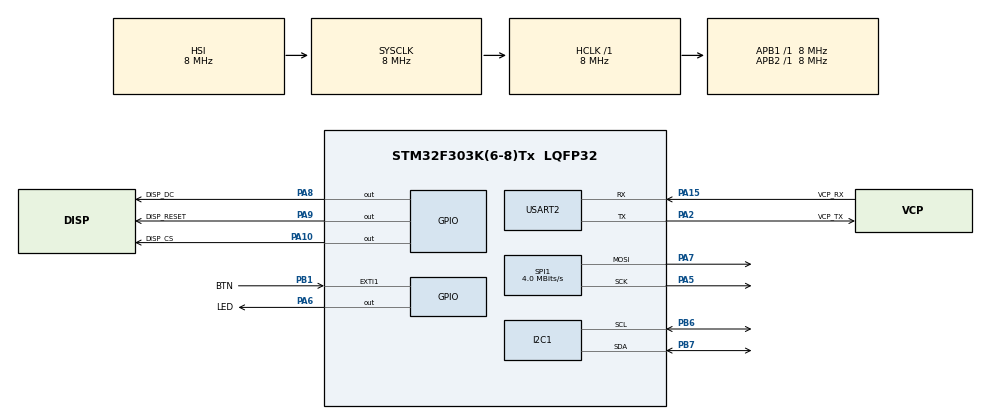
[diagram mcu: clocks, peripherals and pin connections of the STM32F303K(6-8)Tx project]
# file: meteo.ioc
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Dma.I2C1_RX.1.Direction=DMA_PERIPH_TO_MEMORY
Dma.I2C1_RX.1.Instance=DMA1_Channel5
Dma.I2C1_RX.1.MemDataAlignment=DMA_MDATAALIGN_BYTE
Dma.I2C1_RX.1.MemInc=DMA_MINC_ENABLE
Dma.I2C1_RX.1.Mode=DMA_NORMAL
Dma.I2C1_RX.1.PeriphDataAlignment=DMA_PDATAALIGN_BYTE
Dma.I2C1_RX.1.PeriphInc=DMA_PINC_DISABLE
Dma.I2C1_RX.1.Priority=DMA_PRIORITY_LOW
Dma.I2C1_TX.2.Direction=DMA_MEMORY_TO_PERIPH
Dma.I2C1_TX.2.Instance=DMA1_Channel2
Dma.I2C1_TX.2.MemDataAlignment=DMA_MDATAALIGN_BYTE
Dma.I2C1_TX.2.MemInc=DMA_MINC_ENABLE
Dma.I2C1_TX.2.Mode=DMA_NORMAL
Dma.I2C1_TX.2.PeriphDataAlignment=DMA_PDATAALIGN_BYTE
Dma.I2C1_TX.2.PeriphInc=DMA_PINC_DISABLE
Dma.I2C1_TX.2.Priority=DMA_PRIORITY_LOW
Dma.Request0=SPI1_TX
Dma.Request1=I2C1_RX
Dma.Request2=I2C1_TX
Dma.SPI1_TX.0.Direction=DMA_MEMORY_TO_PERIPH
Dma.SPI1_TX.0.Instance=DMA1_Channel3
Dma.SPI1_TX.0.MemDataAlignment=DMA_MDATAALIGN_BYTE
Dma.SPI1_TX.0.MemInc=DMA_MINC_ENABLE
Dma.SPI1_TX.0.Mode=DMA_NORMAL
Dma.SPI1_TX.0.PeriphDataAlignment=DMA_PDATAALIGN_BYTE
Dma.SPI1_TX.0.PeriphInc=DMA_PINC_DISABLE
Dma.SPI1_TX.0.Priority=DMA_PRIORITY_LOW
I2C1.Timing=0x00201D2B
Mcu.Family=STM32F3
Mcu.Name=STM32F303K(6-8)Tx
Mcu.Package=LQFP32
NVIC.DMA1_Channel2_IRQn=true\:0\:0\:false\:false\:true\:false\:true\:true
NVIC.DMA1_Channel3_IRQn=true\:0\:0\:false\:false\:true\:false\:true\:true
NVIC.DMA1_Channel5_IRQn=true\:0\:0\:false\:false\:true\:false\:true\:true
NVIC.EXTI1_IRQn=true\:0\:0\:false\:false\:true\:true\:true\:true
NVIC.PriorityGroup=NVIC_PRIORITYGROUP_4
NVIC.TIM1_UP_TIM16_IRQn=true\:0\:0\:false\:false\:true\:true\:true\:true
NVIC.TIM6_DAC1_IRQn=true\:0\:0\:false\:false\:true\:true\:true\:true
NVIC.TIM7_DAC2_IRQn=true\:0\:0\:false\:false\:true\:true\:true\:true
PA10.GPIO_Label=DISP_CS
PA10.Signal=GPIO_Output
PA13.GPIO_Label=SWDIO
PA13.Mode=Serial_Wire
PA13.Signal=SYS_JTMS-SWDIO
PA14.GPIO_Label=SWCLK
PA14.Mode=Serial_Wire
PA14.Signal=SYS_JTCK-SWCLK
PA15.GPIO_Label=VCP_RX
PA15.Mode=Asynchronous
PA15.Signal=USART2_RX
PA2.GPIO_Label=VCP_TX
PA2.Mode=Asynchronous
PA2.Signal=USART2_TX
PA5.Mode=TX_Only_Simplex_Unidirect_Master
PA5.Signal=SPI1_SCK
PA6.GPIO_Label=LED
PA6.PinState=GPIO_PIN_SET
PA6.Signal=GPIO_Output
PA7.Mode=TX_Only_Simplex_Unidirect_Master
PA7.Signal=SPI1_MOSI
PA8.GPIO_Label=DISP_DC
PA8.Signal=GPIO_Output
PA9.GPIO_Label=DISP_RESET
PA9.Signal=GPIO_Output
PB1.GPIO_Label=BTN
PB1.GPIO_ModeDefaultEXTI=GPIO_MODE_IT_FALLING
PB1.GPIO_PuPd=GPIO_PULLUP
PB1.Signal=GPXTI1
PB6.Mode=I2C
PB6.Signal=I2C1_SCL
PB7.Mode=I2C
PB7.Signal=I2C1_SDA
PF0\ /\ OSC_IN.GPIO_Label=MCO
PF0\ /\ OSC_IN.Mode=HSE-External-Clock-Source
PF0\ /\ OSC_IN.Signal=RCC_OSC_IN
ProjectManager.HeapSize=0x200
ProjectManager.StackSize=0x400
ProjectManager.TargetToolchain=STM32CubeIDE
RCC.AHBFreq_Value=8000000
RCC.APB1Freq_Value=8000000
RCC.APB2Freq_Value=8000000
RCC.CortexFreq_Value=8000000
RCC.HSE_VALUE=8000000
RCC.HSI_VALUE=8000000
RCC.SYSCLKFreq_VALUE=8000000
SPI1.CalculateBaudRate=4.0 MBits/s
SPI1.DataSize=SPI_DATASIZE_8BIT
SPI1.Direction=SPI_DIRECTION_2LINES
SPI1.Mode=SPI_MODE_MASTER
SPI1.VirtualType=VM_MASTER
TIM16.Period=7999
TIM16.Prescaler=999
TIM6.Period=5000
TIM6.Prescaler=800-1
TIM7.Period=100
TIM7.Prescaler=800-1
USART2.VirtualMode-Asynchronous=VM_ASYNC
VP_TIM16_VS_ClockSourceINT.Mode=Enable_Timer
VP_TIM6_VS_ClockSourceINT.Mode=Enable_Timer
VP_TIM7_VS_ClockSourceINT.Mode=Enable_Timer
board=NUCLEO-F303K8

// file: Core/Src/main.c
/* USER CODE BEGIN Header */
/**
  ******************************************************************************
  * @file           : main.c
  * @brief          : Main program body
  ******************************************************************************
  * @attention
  *
  * Copyright (c) 2025 STMicroelectronics.
  * All rights reserved.
  *
  * This software is licensed under terms that can be found in the LICENSE file
  * in the root directory of this software component.
  * If no LICENSE file comes with this software, it is provided AS-IS.
  *
  ******************************************************************************
  */
/* USER CODE END Header */
#include "main.h"
#include "dma.h"
#include "i2c.h"
#include "spi.h"
#include "tim.h"
#include "usart.h"
#include "gpio.h"

/* USER CODE BEGIN Includes */
#include "text_function.h"
#include "stm32f3xx_hal.h"
#include "ILI9341_STM32_Driver.h"
#include "ILI9341_GFX.h"
/* USER CODE END Includes */

/* USER CODE BEGIN PV */
int16_t temperature = 853;
int16_t pressure = 111;
int8_t screen_index = 0;
int8_t screen_status = 0;
int8_t screen_tick = 0;
int32_t butonCounter = 0;
int8_t mode = 0;
char string_buf[7];

uint8_t date_buff[6];
uint8_t date_changemask = 0;
/* USER CODE END PV */

void SystemClock_Config(void);
/* USER CODE BEGIN PFP */
int USART_ReadTime();
/* USER CODE END PFP */

int main(void)
{

  /* MCU Configuration--------------------------------------------------------*/

  /* Reset of all peripherals, Initializes the Flash interface and the Systick. */
  HAL_Init();

  /* Configure the system clock */
  SystemClock_Config();

  /* Initialize all configured peripherals */
  MX_GPIO_Init();
  MX_DMA_Init();
  MX_USART2_UART_Init();
  MX_SPI1_Init();
  MX_I2C1_Init();
  MX_TIM7_Init();
  MX_TIM6_Init();
  MX_TIM16_Init();
  /* USER CODE BEGIN 2 */
  HAL_Delay(10);
  ILI9341_Init();
  HAL_Delay(50);

  ILI9341_FillScreen(BLACK); //fill whole screen with black color

  HAL_TIM_Base_Start_IT(&htim6);

  // ziskame hodnotu casu

  USART_ReadTime(date_buff);

  HAL_TIM_Base_Start_IT(&htim16);

  //test printout
  /*ILI9341_DrawRectangle(0, 0, 320, 30, BLUE);
  ILI9341_DrawText("WEATHER STATION", FONT4, 60, 8, WHITE, BLUE);

    ILI9341_DrawHollowRectangleCoord(10, 40, 310, 75, WHITE);
  	ILI9341_DrawText("Temperature:        *C", FONT4, 50, 50, WHITE, BLACK);
  	digit_to_ascii_XX_X(temperature, string_buf);
  	ILI9341_DrawText(string_buf, FONT4, 190, 50, WHITE, BLACK);

  	ILI9341_DrawHollowRectangleCoord(10, 85, 310, 120, WHITE);
  	ILI9341_DrawText("Pressure:           kPa", FONT4, 50, 95, WHITE, BLACK);
  	digit3_to_ascii(pressure, string_buf);
  	ILI9341_DrawText(string_buf, FONT4, 190, 95, WHITE, BLACK);
*/

  /* USER CODE END 2 */

  /* Infinite loop */
  while (1)
  {

    /* USER CODE BEGIN 3 */
if (mode == 0) {
	  if (screen_status) {
		  if (screen_index >= 3) {
			  screen_index = 0;
		  }
		  if (screen_index == 0) {
			  ILI9341_FillScreen(BLUE);
		  }
		  else if (screen_index == 1) {
			  ILI9341_FillScreen(RED);
		  }
		  else if (screen_index == 2) {
			  ILI9341_FillScreen(WHITE);
		  }
		  screen_status = 0;
		  screen_index++;
	  }
}
if (mode == 1) {
	if (screen_tick) {
		if (screen_index >= 3) {
			screen_index = 0;
		}
		if (screen_index == 0) {
		    ILI9341_FillScreen(BLUE);
		}
		else if (screen_index == 1) {
		    ILI9341_FillScreen(RED);
		}
		else if (screen_index == 2) {
		    ILI9341_FillScreen(WHITE);
		}
		screen_tick = 0;
		screen_index++;
	}
}
	  /*if (screen_status) {
		  pressure++;
		  digit3_to_ascii(pressure, string_buf);
		  ILI9341_DrawText(string_buf, FONT4, 190, 95, WHITE, BLACK);
		  screen_status = 0;
	  }*/

	  /*HAL_GPIO_WritePin(LED_GPIO_Port, LED_Pin, GPIO_PIN_RESET);
	  HAL_Delay(500);
	  HAL_GPIO_WritePin(LED_GPIO_Port, LED_Pin, GPIO_PIN_SET);
	  HAL_Delay(500);*/

  }
  /* USER CODE END 3 */
}

void SystemClock_Config(void)
{
  RCC_OscInitTypeDef RCC_OscInitStruct = {0};
  RCC_ClkInitTypeDef RCC_ClkInitStruct = {0};
  RCC_PeriphCLKInitTypeDef PeriphClkInit = {0};

  /** Initializes the RCC Oscillators according to the specified parameters
  * in the RCC_OscInitTypeDef structure.
  */
  RCC_OscInitStruct.OscillatorType = RCC_OSCILLATORTYPE_HSI;
  RCC_OscInitStruct.HSIState = RCC_HSI_ON;
  RCC_OscInitStruct.HSICalibrationValue = RCC_HSICALIBRATION_DEFAULT;
  RCC_OscInitStruct.PLL.PLLState = RCC_PLL_NONE;
  if (HAL_RCC_OscConfig(&RCC_OscInitStruct) != HAL_OK)
  {
    Error_Handler();
  }

  /** Initializes the CPU, AHB and APB buses clocks
  */
  RCC_ClkInitStruct.ClockType = RCC_CLOCKTYPE_HCLK|RCC_CLOCKTYPE_SYSCLK
                              |RCC_CLOCKTYPE_PCLK1|RCC_CLOCKTYPE_PCLK2;
  RCC_ClkInitStruct.SYSCLKSource = RCC_SYSCLKSOURCE_HSI;
  RCC_ClkInitStruct.AHBCLKDivider = RCC_SYSCLK_DIV1;
  RCC_ClkInitStruct.APB1CLKDivider = RCC_HCLK_DIV1;
  RCC_ClkInitStruct.APB2CLKDivider = RCC_HCLK_DIV1;

  if (HAL_RCC_ClockConfig(&RCC_ClkInitStruct, FLASH_LATENCY_0) != HAL_OK)
  {
    Error_Handler();
  }
  PeriphClkInit.PeriphClockSelection = RCC_PERIPHCLK_I2C1;
  PeriphClkInit.I2c1ClockSelection = RCC_I2C1CLKSOURCE_HSI;
  if (HAL_RCCEx_PeriphCLKConfig(&PeriphClkInit) != HAL_OK)
  {
    Error_Handler();
  }
}

/* USER CODE BEGIN 4 */

int USART_ReadTime(uint8_t* read_buff){
  uint8_t msg[] = "get\0";

  HAL_UART_Transmit(&huart2, msg, sizeof(msg) - 1, HAL_MAX_DELAY);
  uint8_t rx;

  uint8_t i = 0;
  while(i < 6){
    HAL_UART_Receive(&huart2, &rx, 1, HAL_MAX_DELAY);
	read_buff[i] = rx;
	i++;
  }
}

// time increase
void HAL_TIM_PeriodElapsedCallback(TIM_HandleTypeDef *htim){

	if(htim == &htim16){
		HAL_GPIO_TogglePin(LED_GPIO_Port, LED_Pin);

		date_buff[2]++;
		date_changemask |= 0x8;
		if(date_buff[2] > 59){
			date_buff[2] = 0;
			date_buff[1]++;
			date_changemask |= 0x10;
		}

		if(date_buff[1] > 59){
			date_buff[1] = 0;
			date_buff[0]++;
			date_changemask |= 0x20;
		}

		char buff[20];
		uint16_t year = 1900;
		year += date_buff[5];

		sprintf(buff, "%02d:%02d:%02d %02d.%02d.%04d", date_buff[0],date_buff[1],date_buff[2],date_buff[3],date_buff[4],year);
		HAL_UART_Transmit(&huart2, buff, sizeof(buff) - 1, HAL_MAX_DELAY);
	}
}

/* USER CODE END 4 */

void Error_Handler(void)
{
  __disable_irq();
  while (1)
  {
  }
}
